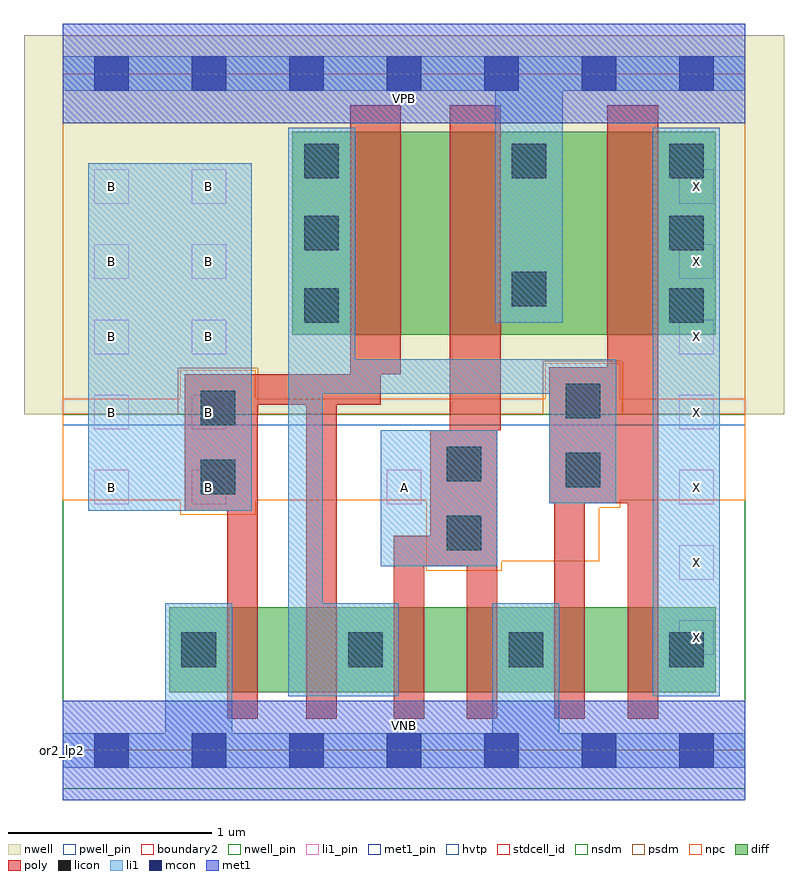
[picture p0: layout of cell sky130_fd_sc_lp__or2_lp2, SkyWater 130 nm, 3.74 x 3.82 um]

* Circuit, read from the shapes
.subckt sky130_fd_sc_lp__or2_lp2 A B VGND VNB VPB VPWR X
XM1 n1 B VGND VNB sky130_fd_pr__nfet_01v8 w=0.42 l=0.15
XM2 n2 B n1 VNB sky130_fd_pr__nfet_01v8 w=0.42 l=0.15
XM3 n3 A n2 VNB sky130_fd_pr__nfet_01v8 w=0.42 l=0.15
XM4 VGND A n3 VNB sky130_fd_pr__nfet_01v8 w=0.42 l=0.15
XM5 n4 n2 VGND VNB sky130_fd_pr__nfet_01v8 w=0.42 l=0.15
XM6 X n2 n4 VNB sky130_fd_pr__nfet_01v8 w=0.42 l=0.15
XM7 n5 B n2 VPB sky130_fd_pr__pfet_01v8_hvt w=1 l=0.25
XM8 VPWR A n5 VPB sky130_fd_pr__pfet_01v8_hvt w=1 l=0.25
XM9 X n2 VPWR VPB sky130_fd_pr__pfet_01v8_hvt w=1 l=0.25
.ends

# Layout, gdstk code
import gdstk
lib = gdstk.Library(unit=1e-6, precision=1e-09)
def R(c, l, rs):  # rectangles x0, y0, x1, y1
    for r in rs: c.add(gdstk.rectangle(r[:2], r[2:], *l))
def A(c, l, x, y, w, h, nx, ny, dx, dy):  # array of equal rectangles
    R(c, l, [(x+i*dx, y+j*dy, x+i*dx+w, y+j*dy+h) for i in range(nx) for j in range(ny)])
def P(c, l, *ps):  # polygons
    for p in ps: c.add(gdstk.Polygon(p, *l))
nwell_pin = (64, 16)
nwell = (64, 20)
diff = (65, 20)
poly = (66, 20)
licon = (66, 44)
li1_pin = (67, 16)
li1 = (67, 20)
mcon = (67, 44)
met1_pin = (68, 16)
met1 = (68, 20)
hvtp = (78, 44)
stdcell_id = (81, 4)
nsdm = (93, 44)
psdm = (94, 20)
npc = (95, 20)
pwell_pin = (122, 16)
boundary2 = (236, 0)

sky130_fd_sc_lp__or2_lp2 = lib.new_cell('sky130_fd_sc_lp__or2_lp2')
R(sky130_fd_sc_lp__or2_lp2, nwell_pin, [(0,3.085,3.36,3.33)])
R(sky130_fd_sc_lp__or2_lp2, nwell, [(-0.19,1.655,3.55,3.52)])
R(sky130_fd_sc_lp__or2_lp2, diff, [(0.525,0.285,3.215,0.705), (1.13,2.045,3.215,3.045)])
P(sky130_fd_sc_lp__or2_lp2, poly, [(1.665,3.175),(1.415,3.175),(1.415,1.85),(0.6,1.85),(0.6,1.18),(0.81,1.18),(0.81,0.155),(0.96,0.155),(0.96,1.7),(1.2,1.7),(1.2,0.155),(1.35,0.155),(1.35,1.7),(1.565,1.7),(1.565,1.85),(1.665,1.85)],
  [(2.155,3.175),(1.905,3.175),(1.905,1.575),(1.81,1.575),(1.81,1.055),(1.63,1.055),(1.63,0.155),(1.78,0.155),(1.78,0.905),(1.99,0.905),(1.99,0.155),(2.14,0.155),(2.14,1.575),(2.155,1.575)],
  [(2.93,3.175),(2.68,3.175),(2.68,1.885),(2.395,1.885),(2.395,1.215),(2.42,1.215),(2.42,0.155),(2.57,0.155),(2.57,1.215),(2.78,1.215),(2.78,0.155),(2.93,0.155)])
A(sky130_fd_sc_lp__or2_lp2, licon, 1.405, 0.41, 0.17, 0.17, 3, 1, 0.79, 0)
A(sky130_fd_sc_lp__or2_lp2, licon, 1.19, 2.105, 0.17, 0.17, 1, 3, 0, 0.355)
A(sky130_fd_sc_lp__or2_lp2, licon, 2.985, 2.105, 0.17, 0.17, 1, 3, 0, 0.355)
R(sky130_fd_sc_lp__or2_lp2, licon, [(0.585,0.41,0.755,0.58), (1.89,0.985,2.06,1.155), (0.68,1.26,0.85,1.43), (2.475,1.295,2.645,1.465), (1.89,1.325,2.06,1.495), (0.68,1.6,0.85,1.77), (2.475,1.635,2.645,1.805), (2.21,2.185,2.38,2.355), (2.21,2.815,2.38,2.985)])
A(sky130_fd_sc_lp__or2_lp2, li1_pin, 3.035, 0.47, 0.17, 0.17, 1, 7, 0, 0.37)
A(sky130_fd_sc_lp__or2_lp2, li1_pin, 0.155, 1.21, 0.17, 0.17, 1, 5, 0, 0.37)
A(sky130_fd_sc_lp__or2_lp2, li1_pin, 0.635, 1.21, 0.17, 0.17, 1, 5, 0, 0.37)
R(sky130_fd_sc_lp__or2_lp2, li1_pin, [(1.595,1.21,1.765,1.38)])
R(sky130_fd_sc_lp__or2_lp2, li1, [(2.905,0.265,3.235,3.065), (1.565,0.905,2.14,1.575), (0.125,1.18,0.93,2.89)])
P(sky130_fd_sc_lp__or2_lp2, li1, [(2.13,2.105),(2.13,3.245),(0,3.245),(0,3.415),(3.36,3.415),(3.36,3.245),(2.46,3.245),(2.46,2.105)],
  [(0.505,0.085),(0.505,0.725),(0.835,0.725),(0.835,0.085),(2.115,0.085),(2.115,0.725),(2.445,0.725),(2.445,0.085),(3.36,0.085),(3.36,-0.085),(0,-0.085),(0,0.085)],
  [(1.11,3.065),(1.44,3.065),(1.44,1.925),(2.725,1.925),(2.725,1.215),(2.395,1.215),(2.395,1.755),(1.28,1.755),(1.28,0.725),(1.655,0.725),(1.655,0.265),(1.11,0.265)])
A(sky130_fd_sc_lp__or2_lp2, mcon, 0.155, -0.085, 0.17, 0.17, 7, 2, 0.48, 3.33)
R(sky130_fd_sc_lp__or2_lp2, met1_pin, [(0,0,3.36,0.245), (0,3.085,3.36,3.33)])
R(sky130_fd_sc_lp__or2_lp2, met1, [(0,-0.245,3.36,0.245), (0,3.085,3.36,3.575)])
R(sky130_fd_sc_lp__or2_lp2, hvtp, [(0,1.6,3.36,3.33)])
R(sky130_fd_sc_lp__or2_lp2, stdcell_id, [(0,0,3.36,3.33)])
R(sky130_fd_sc_lp__or2_lp2, nsdm, [(0,-0.19,3.36,1.655)])
P(sky130_fd_sc_lp__or2_lp2, psdm, [(3.36,3.52),(0,3.52),(0,1.655),(0.57,1.655),(0.57,1.88),(0.96,1.88),(0.96,1.655),(2.365,1.655),(2.365,1.915),(2.755,1.915),(2.755,1.655),(3.36,1.655)])
P(sky130_fd_sc_lp__or2_lp2, npc, [(3.36,1.73),(2.745,1.73),(2.745,1.905),(2.375,1.905),(2.375,1.73),(0.95,1.73),(0.95,1.87),(0.58,1.87),(0.58,1.73),(0,1.73),(0,1.23),(0.58,1.23),(0.58,1.16),(0.95,1.16),(0.95,1.23),(1.79,1.23),(1.79,0.885),(2.16,0.885),(2.16,0.93),(2.64,0.93),(2.64,1.195),(2.745,1.195),(2.745,1.23),(3.36,1.23)])
R(sky130_fd_sc_lp__or2_lp2, pwell_pin, [(0,0,3.36,0.245)])
R(sky130_fd_sc_lp__or2_lp2, boundary2, [(0,0,3.36,3.33)])
sky130_fd_sc_lp__or2_lp2.add(gdstk.Label('VNB', (1.68,0.123), layer=64, texttype=59))
sky130_fd_sc_lp__or2_lp2.add(gdstk.Label('VPB', (1.68,3.208), layer=64, texttype=5))
sky130_fd_sc_lp__or2_lp2.add(gdstk.Label('or2_lp2', (0,0), layer=83, texttype=44))
sky130_fd_sc_lp__or2_lp2.add(gdstk.Label('VPWR', (1.68,3.208), layer=68, texttype=5))
sky130_fd_sc_lp__or2_lp2.add(gdstk.Label('VGND', (1.68,0.123), layer=68, texttype=5))
sky130_fd_sc_lp__or2_lp2.add(gdstk.Label('B', (0.24,1.295), layer=67, texttype=5))
sky130_fd_sc_lp__or2_lp2.add(gdstk.Label('B', (0.24,1.665), layer=67, texttype=5))
sky130_fd_sc_lp__or2_lp2.add(gdstk.Label('B', (0.24,2.035), layer=67, texttype=5))
sky130_fd_sc_lp__or2_lp2.add(gdstk.Label('B', (0.24,2.405), layer=67, texttype=5))
sky130_fd_sc_lp__or2_lp2.add(gdstk.Label('B', (0.24,2.775), layer=67, texttype=5))
sky130_fd_sc_lp__or2_lp2.add(gdstk.Label('B', (0.72,1.295), layer=67, texttype=5))
sky130_fd_sc_lp__or2_lp2.add(gdstk.Label('B', (0.72,1.665), layer=67, texttype=5))
sky130_fd_sc_lp__or2_lp2.add(gdstk.Label('B', (0.72,2.035), layer=67, texttype=5))
sky130_fd_sc_lp__or2_lp2.add(gdstk.Label('B', (0.72,2.405), layer=67, texttype=5))
sky130_fd_sc_lp__or2_lp2.add(gdstk.Label('B', (0.72,2.775), layer=67, texttype=5))
sky130_fd_sc_lp__or2_lp2.add(gdstk.Label('A', (1.68,1.295), layer=67, texttype=5))
sky130_fd_sc_lp__or2_lp2.add(gdstk.Label('X', (3.12,0.555), layer=67, texttype=5))
sky130_fd_sc_lp__or2_lp2.add(gdstk.Label('X', (3.12,0.925), layer=67, texttype=5))
sky130_fd_sc_lp__or2_lp2.add(gdstk.Label('X', (3.12,1.295), layer=67, texttype=5))
sky130_fd_sc_lp__or2_lp2.add(gdstk.Label('X', (3.12,1.665), layer=67, texttype=5))
sky130_fd_sc_lp__or2_lp2.add(gdstk.Label('X', (3.12,2.035), layer=67, texttype=5))
sky130_fd_sc_lp__or2_lp2.add(gdstk.Label('X', (3.12,2.405), layer=67, texttype=5))
sky130_fd_sc_lp__or2_lp2.add(gdstk.Label('X', (3.12,2.775), layer=67, texttype=5))

lib.write_gds('sky130_fd_sc_lp__or2_lp2.gds')
